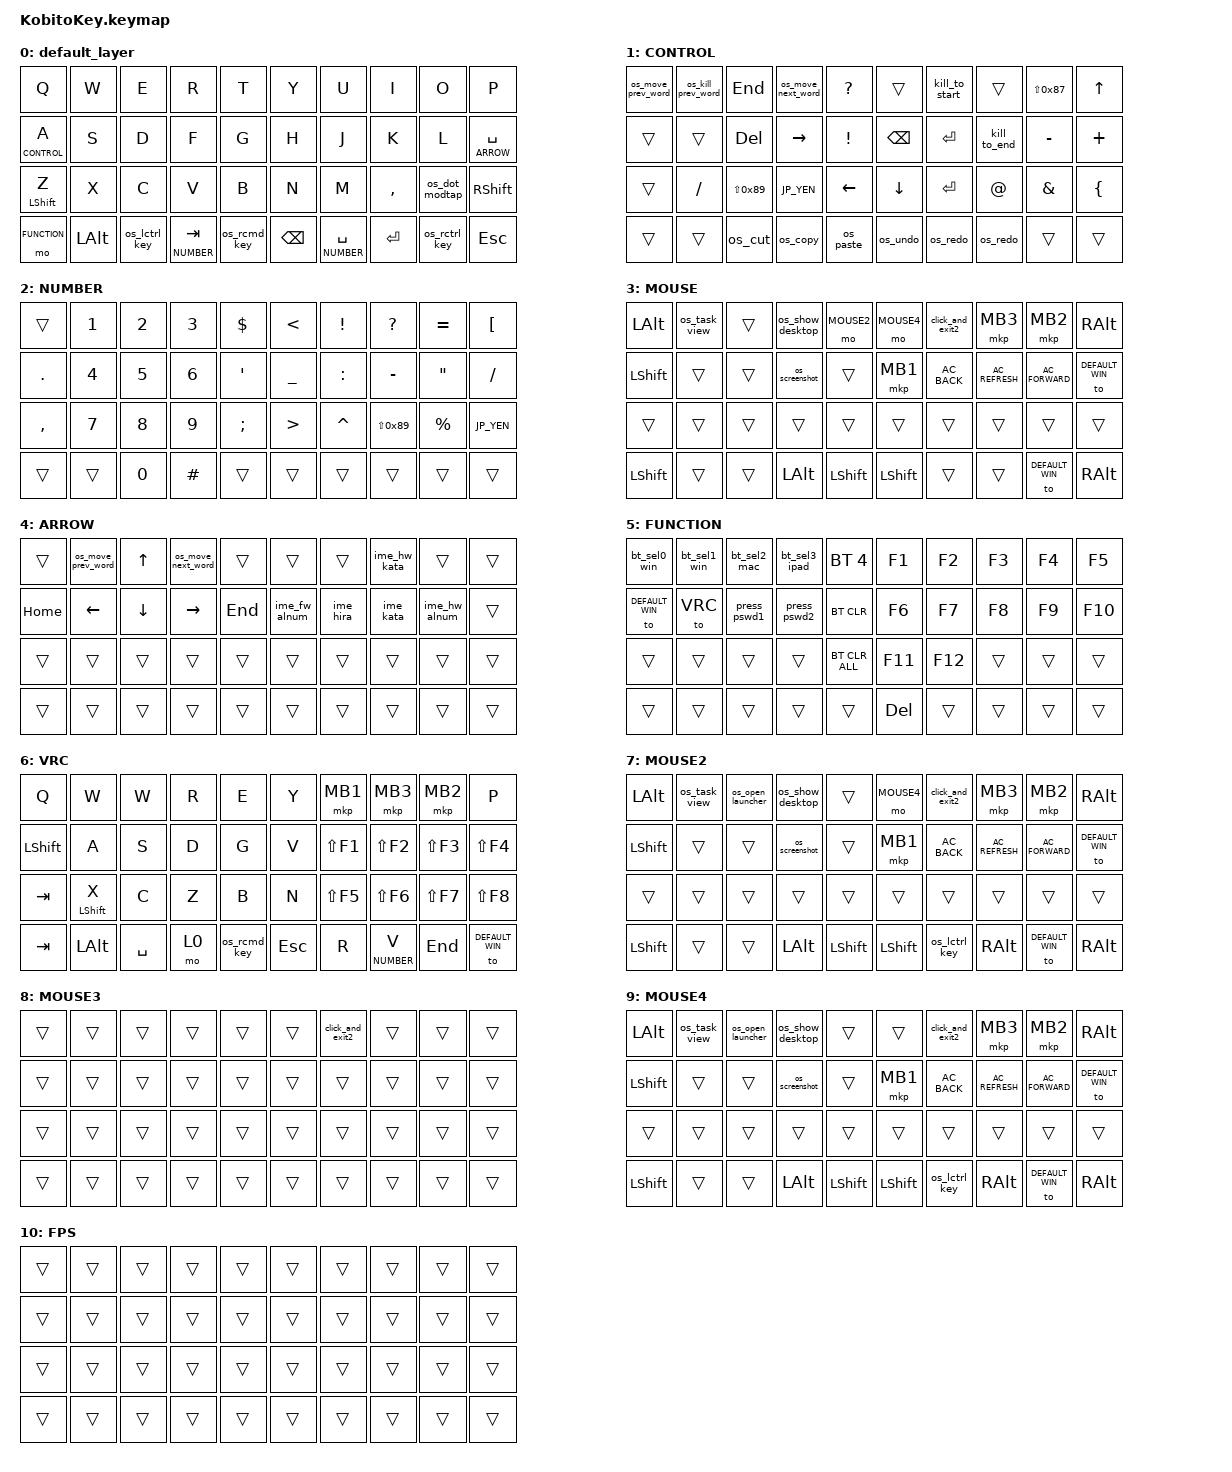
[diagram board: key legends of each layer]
#include <input/processors.dtsi>
#include <behaviors.dtsi>
#include <dt-bindings/zmk/bt.h>
#include <dt-bindings/zmk/keys.h>
#include <dt-bindings/zmk/pointing.h>
#include <dt-bindings/zmk/modifiers.h>
#include <dt-bindings/zmk/behaviors.h>
#include <dt-bindings/zmk/mouse.h>


// レイヤーをdefineしてレイヤー変更処理に強くする
#define DEFAULT_WIN 0
#define DEFAULT_MAC 11
#define DEFAULT_IPAD 12
#define CONTROL 1
#define NUMBER 2
#define MOUSE 3
#define ARROW 4
#define FUNCTION 5
#define VRC 6
#define MOUSE2 7
#define MOUSE3 8
#define MOUSE4 9
#define FPS 10

// OS設定を日本語キーボードのまま使用するための変換定義
#define JP_DQUOTE       AT                // "
#define JP_AMPERSAND    CARET             // &
#define JP_QUOTE        AMPERSAND         // '
#define JP_EQUAL        UNDER             // =
#define JP_CARET        EQUAL             // ^
#define JP_YEN          0x89              // ¥
#define JP_PLUS         COLON             // +
#define JP_TILDE        PLUS              // ~
#define JP_PIPE         LS(0x89)          // |
#define JP_AT           LEFT_BRACKET      // @
#define JP_COLON        SINGLE_QUOTE      // :
#define JP_ASTERISK     DOUBLE_QUOTES     // *
#define JP_BACKQUOTE    LEFT_BRACE        // `
#define JP_UNDERSCORE   LS(0x87)          // _
#define JP_LBRACKET     RIGHT_BRACKET     // [
#define JP_RBRACKET     BACKSLASH         // ]
#define JP_LPAREN       ASTERISK          // (
#define JP_RPAREN       LEFT_PARENTHESIS  // )
#define JP_LBRACE       RIGHT_BRACE       // {
#define JP_RBRACE       PIPE              // }
#define JP_KANA         LANGUAGE_1        // かな
#define JP_EISU         LANGUAGE_2        // 英数
#define JP_HANZEN       GRAVE             // 半角/全角


/ {
    behaviors {
        sl_mouse: sticky_layer_for_mouse {
            compatible = "zmk,behavior-sticky-key";
            #binding-cells = <1>;
            bindings = <&mo>;
            release-after-ms = <200>;
            quick-release;
            ignore-modifiers;
        };
        td_colon: tap_dance_0 {
            compatible = "zmk,behavior-tap-dance";
            #binding-cells = <0>;
            tapping-term-ms = <200>;
            bindings = <&kp RSHFT>, <&kp SEMICOLON>, <&kp JP_COLON>;
        };
        colon_semi: colon_semi {
            compatible = "zmk,behavior-mod-morph";
            #binding-cells = <0>;
            bindings = <&kp SEMICOLON>, <&kp JP_COLON>;
            mods = <(MOD_LSFT|MOD_RSFT)>;
        };
        long_mt: long_mt {
            compatible = "zmk,behavior-hold-tap";
            #binding-cells = <2>;
            tapping-term-ms = <300>;
            flavor = "tap-preferred";
            bindings = <&kp>, <&kp>;
        };
        long_lt: long_lt {
            compatible = "zmk,behavior-hold-tap";
            #binding-cells = <2>;
            tapping-term-ms = <400>;
            flavor = "tap-preferred";
            bindings = <&mo>, <&kp>;
        };

        vset_os_win: value_set_os_win {
            compatible = "zmk,behavior-value-set";
            #binding-cells = <0>;
            index = <0>;
            value = <0>;
        };

        vset_os_mac: value_set_os_mac {
            compatible = "zmk,behavior-value-set";
            #binding-cells = <0>;
            index = <0>;
            value = <2>;
        };

        vset_os_ipad: value_set_os_ipad {
            compatible = "zmk,behavior-value-set";
            #binding-cells = <0>;
            index = <0>;
            value = <3>;
        };

        os_cut: os_cut {
            compatible = "zmk,behavior-value-switch";
            #binding-cells = <0>;
            index = <0>;
            fallback = <0>;
            case-values = <2 3>;
            bindings = <
            &kp LG(X)
            &kp LG(X)
            &kp LC(X)
            >;
        };

        os_copy: os_copy {
            compatible = "zmk,behavior-value-switch";
            #binding-cells = <0>;
            index = <0>;
            fallback = <0>;
            case-values = <2 3>;
            bindings = <
            &kp LG(C)
            &kp LG(C)
            &kp LC(C)
            >;
        };

        os_paste: os_paste {
            compatible = "zmk,behavior-value-switch";
            #binding-cells = <0>;
            index = <0>;
            fallback = <0>;
            case-values = <2 3>;
            bindings = <
            &kp LG(V)
            &kp LG(V)
            &kp LC(V)
            >;
        };

        os_undo: os_undo {
            compatible = "zmk,behavior-value-switch";
            #binding-cells = <0>;
            index = <0>;
            fallback = <0>;
            case-values = <2 3>;
            bindings = <
            &kp LG(Z)
            &kp LG(Z)
            &kp LC(Z)
            >;
        };

        os_redo: os_redo {
            compatible = "zmk,behavior-value-switch";
            #binding-cells = <0>;
            index = <0>;
            fallback = <0>;
            case-values = <2 3>;
            bindings = <
            &kp LS(LG(Z))
            &kp LS(LG(Z))
            &kp LC(Y)
            >;
        };

        os_move_prev_word: os_move_prev_word {
            compatible = "zmk,behavior-value-switch";
            #binding-cells = <0>;
            index = <0>;
            fallback = <0>;
            case-values = <2 3>;
            bindings = <
            &kp LA(LEFT)
            &kp LA(LEFT)
            &kp LC(LEFT)
            >;
        };

        os_move_next_word: os_move_next_word {
            compatible = "zmk,behavior-value-switch";
            #binding-cells = <0>;
            index = <0>;
            fallback = <0>;
            case-values = <2 3>;
            bindings = <
            &kp LA(RIGHT)
            &kp LA(RIGHT)
            &kp LC(RIGHT)
            >;
        };

        os_kill_prev_word: os_kill_prev_word {
            compatible = "zmk,behavior-value-switch";
            #binding-cells = <0>;
            index = <0>;
            fallback = <0>;
            case-values = <2 3>;
            bindings = <
            &kp LA(BSPC)
            &kp LA(BSPC)
            &kp LC(BSPC)
            >;
        };

        os_task_view: os_task_view {
            compatible = "zmk,behavior-value-switch";
            #binding-cells = <0>;
            index = <0>;
            fallback = <0>;
            case-values = <2 3>;
            bindings = <
            &kp LC(UP)
            &kp LG(TAB)
            &kp LG(TAB)
            >;
        };

        os_lctrl_key: os_lctrl_key {
            compatible = "zmk,behavior-value-switch";
            #binding-cells = <0>;
            index = <0>;
            fallback = <0>;
            case-values = <2 3>;
            bindings = <
            &kp LGUI
            &kp LGUI
            &kp LCTRL
            >;
        };

        os_rctrl_key: os_rctrl_key {
            compatible = "zmk,behavior-value-switch";
            #binding-cells = <0>;
            index = <0>;
            fallback = <0>;
            case-values = <2 3>;
            bindings = <
            &kp RGUI
            &kp RGUI
            &kp RCTRL
            >;
        };

        os_lcmd_key: os_lcmd_key {
            compatible = "zmk,behavior-value-switch";
            #binding-cells = <0>;
            index = <0>;
            fallback = <0>;
            case-values = <2 3>;
            bindings = <
            &kp LCTRL
            &kp LCTRL
            &kp LGUI
            >;
        };

        os_rcmd_key: os_rcmd_key {
            compatible = "zmk,behavior-value-switch";
            #binding-cells = <0>;
            index = <0>;
            fallback = <0>;
            case-values = <2 3>;
            bindings = <
            &kp RCTRL
            &kp RCTRL
            &kp RGUI
            >;
        };

        os_show_desktop: os_show_desktop {
            compatible = "zmk,behavior-value-switch";
            #binding-cells = <0>;
            index = <0>;
            fallback = <0>;
            case-values = <2 3>;
            bindings = <
            &kp LG(F3)
            &kp LG(H)
            &kp LG(D)
            >;
        };

        os_open_launcher: os_open_launcher {
            compatible = "zmk,behavior-value-switch";
            #binding-cells = <0>;
            index = <0>;
            fallback = <0>;
            case-values = <2 3>;
            bindings = <
            &kp LG(SPACE)
            &kp LG(SPACE)
            &kp LG(E)
            >;
        };

        os_screenshot: os_screenshot {
            compatible = "zmk,behavior-value-switch";
            #binding-cells = <0>;
            index = <0>;
            fallback = <0>;
            case-values = <2 3>;
            bindings = <
            &kp LS(LG(N5))
            &kp LS(LG(N3))
            &kp LS(LG(S))
            >;
        };

        os_dot_modtap: os_dot_modtap {
            compatible = "zmk,behavior-value-switch";
            #binding-cells = <0>;
            index = <0>;
            fallback = <0>;
            case-values = <2 3>;
            bindings = <
            &mt LGUI DOT
            &mt LGUI DOT
            &mt LCTRL DOT
            >;
        };
    };

    combos {
        compatible = "zmk,combos";

        combo_lparen {
            timeout-ms = <50>;
            key-positions = <12 13>;
            bindings = <&kp JP_LPAREN>;
        };
        combo_rparen {
            timeout-ms = <50>;
            key-positions = <16 17>;
            bindings = <&kp JP_RPAREN>;
        };
        combo_lbrace {
            timeout-ms = <50>;
            key-positions = <2 3>;
            bindings = <&kp JP_LBRACE>;
        };
        combo_rbrace {
            timeout-ms = <50>;
            key-positions = <6 7>;
            bindings = <&kp JP_RBRACE>;
        };
        combo_lbracket {
            timeout-ms = <50>;
            key-positions = <22 23>;
            bindings = <&kp JP_LBRACKET>;
        };
        combo_rbracket {
            timeout-ms = <50>;
            key-positions = <26 27>;
            bindings = <&kp JP_RBRACKET>;
        };


        combo_colon_semi {
            timeout-ms = <50>;
            key-positions = <18 19>;
            bindings = <&colon_semi>;
        };

        combo_eisu2  {
            timeout-ms = <100>;
            key-positions = <32 33>;
            bindings = <&kp LANG2>;
        };

        combo_kana2 {
            timeout-ms = <100>;
            key-positions = <36 37>;
            bindings = <&kp LANG1>;
        };


    };

    macros {
        // Ctrl+K 相当：カーソル位置から行末まで削除
        kill_to_end: kill_to_end {
            label = "KILL_TO_END";
            compatible = "zmk,behavior-macro";
            #binding-cells = <0>;
            bindings =
                // Shift を押しっぱなし
                <&macro_press &kp LSHFT>
                // End をタップ（カーソル～行末を選択）
                , <&macro_tap &kp END>
                // Shift を離す
                , <&macro_release &kp LSHFT>
                // Delete をタップ（選択範囲を削除）
                , <&macro_tap &kp DEL>
                ;
        };

        // Ctrl+U 相当：カーソル位置から行頭まで削除
        kill_to_start: kill_to_start {
            label = "KILL_TO_START";
            compatible = "zmk,behavior-macro";
            #binding-cells = <0>;
            bindings =
                // Shift を押しっぱなし
                <&macro_press &kp LSHFT>
                // Home をタップ（行頭～カーソルまで選択）
                , <&macro_tap &kp HOME>
                // Shift を離す
                , <&macro_release &kp LSHFT>
                // Delete をタップ（選択範囲を削除）
                , <&macro_tap &kp DEL>
                ;
        };

        // Ctrl+W 相当：直前の1単語を削除
        //   → Windows 的には Ctrl+Shift+← で単語選択 → Delete
        kill_prev_word: kill_prev_word {
            label = "KILL_PREV_WORD";
            compatible = "zmk,behavior-macro";
            #binding-cells = <0>;
            bindings =
                // Ctrl + Shift を押しっぱなし
                <&macro_press &kp LCTRL>
                , <&macro_press &kp LSHFT>
                // ← をタップ（直前1語を選択）
                , <&macro_tap &kp LEFT>
                // Shift, Ctrl を離す
                , <&macro_release &kp LSHFT>
                , <&macro_release &kp LCTRL>
                // Delete で選択範囲削除
                , <&macro_tap &kp DEL>
                ;
        };
        click_and_exit: click_and_exit {
            label = "CLICK_AND_EXIT";
            compatible = "zmk,behavior-macro";
            #binding-cells = <0>;
            bindings =
                <&macro_press &mkp MB1>
                , <&macro_pause_for_release> // ドラッグ対策に離すまで待つ
                , <&macro_release &mkp MB1>
                , <&macro_tap &to 0> // デフォルトレイヤーに戻る
                ;
        };
        click_and_exit2: click_and_exit2 {
            label = "CLICK_AND_EXIT2";
            compatible = "zmk,behavior-macro";
            #binding-cells = <0>;
            bindings =
                <&macro_press &mkp MB1>
                , <&macro_pause_for_release> // ドラッグ対策に離すまで待つ
                , <&macro_release &mkp MB1>
                , <&macro_tap &to 0> // デフォルトレイヤーに戻る
                , <&macro_tap &sl_mouse 8>
                ;
        };
        ime_hira: ime_hira {
            label = "IME_HIRA";
            compatible = "zmk,behavior-macro";
            #binding-cells = <0>;
            bindings = <&macro_tap &kp F6>;
        };
        ime_kata: ime_kata {
            label = "IME_KATA";
            compatible = "zmk,behavior-macro";
            #binding-cells = <0>;
            bindings = <&macro_tap &kp F7>;
        };
        ime_hw_kata: ime_hw_kata {
            label = "IME_HW_KATA";
            compatible = "zmk,behavior-macro";
            #binding-cells = <0>;
            bindings = <&macro_tap &kp F8>;
        };

        ime_fw_alnum: ime_fw_alnum {
            label = "IME_FW_ALNUM";
            compatible = "zmk,behavior-macro";
            #binding-cells = <0>;
            bindings = <&macro_tap &kp F9>;
        };

        ime_hw_alnum: ime_hw_alnum {
            label = "IME_HW_ALNUM";
            compatible = "zmk,behavior-macro";
            #binding-cells = <0>;
            bindings = <&macro_tap &kp F10>;
        };

        move_prev_word: move_prev_word {
            label = "MOVE_PREV_WORD";
            compatible = "zmk,behavior-macro";
            #binding-cells = <0>;
            bindings =
                <&macro_press &kp LCTRL>
                , <&macro_tap &kp LEFT>
                , <&macro_release &kp LCTRL>
                ;
        };

        move_next_word: move_next_word {
            label = "MOVE_NEXT_WORD";
            compatible = "zmk,behavior-macro";
            #binding-cells = <0>;
            bindings =
                <&macro_press &kp LCTRL>
                , <&macro_tap &kp RIGHT>
                , <&macro_release &kp LCTRL>
                ;
        };

        select_prev_word: select_prev_word {
            label = "SELECT_PREV_WORD";
            compatible = "zmk,behavior-macro";
            #binding-cells = <0>;
            bindings =
                <&macro_press &kp LCTRL>
                , <&macro_press &kp LSHFT>
                , <&macro_tap   &kp LEFT>
                , <&macro_release &kp LSHFT>
                , <&macro_release &kp LCTRL>
                ;
        };

        press_pswd1: press_pswd1 {
            label = "PRESS_PSWD_1";
            compatible = "zmk,behavior-macro";
            #binding-cells = <0>;
            bindings =
                <&macro_tap &kp N8>
                , <&macro_tap &kp W>
                , <&macro_tap &kp S>
                , <&macro_tap &kp F>
                , <&macro_tap &kp C>
                , <&macro_tap &kp N8>
                , <&macro_tap &kp LS(Z)>
                , <&macro_tap &kp LS(P)>
                , <&macro_tap &kp N4>
                , <&macro_tap &kp N3>
                , <&macro_tap &kp I>
                , <&macro_tap &kp G>
                , <&macro_tap &kp LS(Z)>
                , <&macro_tap &kp P>
                , <&macro_tap &kp LS(B)>
                ;
        };

        press_pswd2: press_pswd2 {
            label = "PRESS_PSWD_2";
            compatible = "zmk,behavior-macro";
            #binding-cells = <0>;
            bindings =
                <&macro_tap &kp LS(B)>
                , <&macro_tap &kp I>
                , <&macro_tap &kp LS(S)>
                , <&macro_tap &kp N3>
                , <&macro_tap &kp J>
                , <&macro_tap &kp N6>
                , <&macro_tap &kp I>
                , <&macro_tap &kp LS(J)>
                , <&macro_tap &kp LS(R)>
                , <&macro_tap &kp LS(X)>
                , <&macro_tap &kp N3>
                , <&macro_tap &kp A>
                , <&macro_tap &kp LS(A)>
                , <&macro_tap &kp N5>
                , <&macro_tap &kp W>
                ;
        };
        bt_sel0_win: bt_sel0_win {
            label = "BT_SEL0_WIN";
            compatible = "zmk,behavior-macro";
            #binding-cells = <0>;
            bindings =
                <&macro_tap &bt BT_SEL 0>
                , <&macro_tap &vset_os_win>
                ;
        };
        bt_sel1_win: bt_sel1_win {
            label = "BT_SEL1_WIN";
            compatible = "zmk,behavior-macro";
            #binding-cells = <0>;
            bindings =
                <&macro_tap &bt BT_SEL 1>
                , <&macro_tap &vset_os_win>
                ;
        };
        bt_sel2_mac: bt_sel2_mac {
            label = "BT_SEL2_MAC";
            compatible = "zmk,behavior-macro";
            #binding-cells = <0>;
            bindings =
                <&macro_tap &bt BT_SEL 2>
                , <&macro_tap &vset_os_mac>
                ;
        };
        bt_sel3_ipad: bt_sel3_ipad {
            label = "BT_SEL3_IPAD";
            compatible = "zmk,behavior-macro";
            #binding-cells = <0>;
            bindings =
                <&macro_tap &bt BT_SEL 3>
                , <&macro_tap &vset_os_ipad>
                ;
        };
    };
    keymap {
        compatible = "zmk,keymap";

        /* ▼ レイヤー0：通常（英数） */
        default_layer {
            bindings = <
                &kp Q            &kp W            &kp E            &kp R            &kp T            &kp Y            &kp U              &kp I              &kp O              &kp P
                &lt CONTROL A     &kp S            &kp D            &kp F            &kp G            &kp H            &kp J              &kp K              &kp L              &lt ARROW SPACE
                &long_mt LSHFT Z &kp X            &kp C            &kp V            &kp B            &kp N            &kp M              &kp COMMA          &os_dot_modtap     &kp RSHFT
                &mo FUNCTION     &kp LALT         &os_lctrl_key    &lt NUMBER TAB    &os_rcmd_key     &kp BSPC         &lt NUMBER SPACE    &kp ENTER          &os_rctrl_key      &kp ESC
            >;
        };

        /* ▼ レイヤー1：編集／記号（JIS記号に寄せた版） */
        layer1 {
            label = "CONTROL";
            bindings = <
                &os_move_prev_word &os_kill_prev_word &kp END          &os_move_next_word &kp QUESTION      &trans         &kill_to_start    &trans           &kp JP_UNDERSCORE &kp UP
                &trans             &trans             &kp DEL          &kp RIGHT          &kp EXCL          &kp BSPC       &kp ENTER         &kill_to_end     &kp MINUS         &kp JP_TILDE
                &trans             &kp SLASH          &kp JP_PIPE      &kp JP_YEN         &kp LEFT          &kp DOWN       &kp ENTER         &kp JP_DQUOTE    &kp JP_QUOTE      &kp JP_BACKQUOTE
                &trans             &trans             &os_cut          &os_copy           &os_paste         &os_undo       &os_redo          &os_redo         &trans            &trans
            >;
        };

        /* ▼ レイヤー2：数字／記号（JIS記号を意識） */
        layer2 {
            label = "NUMBER";
            bindings = <
                &trans    &kp N1  &kp N2  &kp N3  &kp DOLLAR      &kp LT           &kp EXCL          &kp QUESTION      &kp JP_CARET    &kp JP_AT
                &kp DOT   &kp N4  &kp N5  &kp N6  &kp JP_COLON    &kp JP_EQUAL     &kp JP_PLUS       &kp MINUS         &kp JP_ASTERISK &kp SLASH
                &kp COMMA &kp N7  &kp N8  &kp N9  &kp SEMICOLON   &kp GT           &kp JP_AMPERSAND  &kp JP_PIPE       &kp PERCENT     &kp JP_YEN
                &trans    &trans  &kp N0  &kp HASH &trans          &trans           &trans            &trans            &trans          &trans
            >;
        };

        /* ▼ レイヤー3：マウス（修飾キー名をZMK準拠に修正） */
        layer3 {
            label = "MOUSE";
            bindings = <
                &kp LALT  &os_task_view &trans &os_show_desktop &mo MOUSE2 &mo MOUSE4 &click_and_exit2 &mkp MB3 &mkp MB2 &kp RALT
                &kp LSHFT &trans        &trans &os_screenshot   &trans     &mkp MB1   &kp C_AC_BACK    &kp C_AC_REFRESH &kp C_AC_FORWARD &to DEFAULT_WIN
                &trans    &trans        &trans &trans           &trans     &trans     &trans           &trans           &trans           &trans
                &kp LSHFT &trans        &trans &kp LALT         &kp LSHFT  &kp LSHFT  &trans           &trans           &to DEFAULT_WIN  &kp RALT
            >;
        };

        /* ▼ レイヤー4：矢印 */
        layer4 {
            label = "ARROW";
            bindings = <
                &trans   &os_move_prev_word &kp UP   &os_move_next_word &trans &trans       &trans     &ime_hw_kata &trans       &trans
                &kp HOME &kp LEFT           &kp DOWN &kp RIGHT          &kp END &ime_fw_alnum &ime_hira &ime_kata    &ime_hw_alnum &trans
                &trans   &trans             &trans   &trans             &trans &trans       &trans     &trans       &trans       &trans
                &trans   &trans             &trans   &trans             &trans &trans       &trans     &trans       &trans       &trans
            >;
        };

        /* ▼ レイヤー5：ファンクション・BT・レイヤー移動 */
        layer5 {
            label = "FUNCTION";
            bindings = <
                &bt_sel0_win   &bt_sel1_win &bt_sel2_mac &bt_sel3_ipad &bt BT_SEL 4 &kp F1  &kp F2  &kp F3  &kp F4  &kp F5
                &to DEFAULT_WIN &to VRC     &press_pswd1 &press_pswd2  &bt BT_CLR   &kp F6  &kp F7  &kp F8  &kp F9  &kp F10
                &trans         &trans       &trans       &trans        &bt BT_CLR_ALL &kp F11 &kp F12 &trans  &trans  &trans
                &trans         &trans       &trans       &trans        &trans       &kp DEL &trans  &trans  &trans  &trans
            >;
        };

        /* ▼ レイヤー6：VRC用 */
        layer6 {
            label = "VRC";
            bindings = <
                &kp Q     &kp W      &kp W      &kp R      &kp E      &kp Y      &mkp MB1   &mkp MB3   &mkp MB2   &kp P
                &kp LSHFT &kp A      &kp S      &kp D      &kp G      &kp V      &kp LS(F1) &kp LS(F2) &kp LS(F3) &kp LS(F4)
                &kp TAB   &mt LSHFT X &kp C     &kp Z      &kp B      &kp N      &kp LS(F5) &kp LS(F6) &kp LS(F7) &kp LS(F8)
                &kp TAB   &kp LALT   &kp SPACE  &mo 0      &os_rcmd_key &kp ESC   &kp R      &lt NUMBER V &kp END    &to DEFAULT_WIN
            >;
        };

        /* ▼ レイヤー7：マウス低DPI */
        layer7 {
            label = "MOUSE2";
            bindings = <
                &kp LALT  &os_task_view &os_open_launcher &os_show_desktop &trans &mo MOUSE4 &click_and_exit2 &mkp MB3 &mkp MB2 &kp RALT
                &kp LSHFT &trans        &trans            &os_screenshot   &trans &mkp MB1   &kp C_AC_BACK    &kp C_AC_REFRESH &kp C_AC_FORWARD &to DEFAULT_WIN
                &trans    &trans        &trans            &trans           &trans &trans     &trans           &trans           &trans           &trans
                &kp LSHFT &trans        &trans            &kp LALT         &kp LSHFT &kp LSHFT &os_lctrl_key  &kp RALT         &to DEFAULT_WIN  &kp RALT
            >;
        };

        /* ▼ レイヤー8：ダブルクリック用レイヤー */
        layer8 {
            label = "MOUSE3";
            bindings = <
                &trans &trans &trans &trans &trans &trans &click_and_exit2 &trans &trans &trans
                &trans &trans &trans &trans &trans &trans &trans           &trans &trans &trans
                &trans &trans &trans &trans &trans &trans &trans           &trans &trans &trans
                &trans &trans &trans &trans &trans &trans &trans           &trans &trans &trans
            >;
        };

        /* ▼ レイヤー9：右手スクロール用レイヤー */
        layer9 {
            label = "MOUSE4";
            bindings = <
                &kp LALT  &os_task_view &os_open_launcher &os_show_desktop &trans &trans   &click_and_exit2 &mkp MB3 &mkp MB2 &kp RALT
                &kp LSHFT &trans        &trans            &os_screenshot   &trans &mkp MB1 &kp C_AC_BACK    &kp C_AC_REFRESH &kp C_AC_FORWARD &to DEFAULT_WIN
                &trans    &trans        &trans            &trans           &trans &trans   &trans           &trans           &trans           &trans
                &kp LSHFT &trans        &trans            &kp LALT         &kp LSHFT &kp LSHFT &os_lctrl_key &kp RALT         &to DEFAULT_WIN  &kp RALT
            >;
        };

        /* ▼ レイヤー10：FPS用 */
        layer10 {
            label = "FPS";
            bindings = <
                &trans &trans &trans &trans &trans &trans &trans &trans &trans &trans
                &trans &trans &trans &trans &trans &trans &trans &trans &trans &trans
                &trans &trans &trans &trans &trans &trans &trans &trans &trans &trans
                &trans &trans &trans &trans &trans &trans &trans &trans &trans &trans
            >;
        };
    };


};
